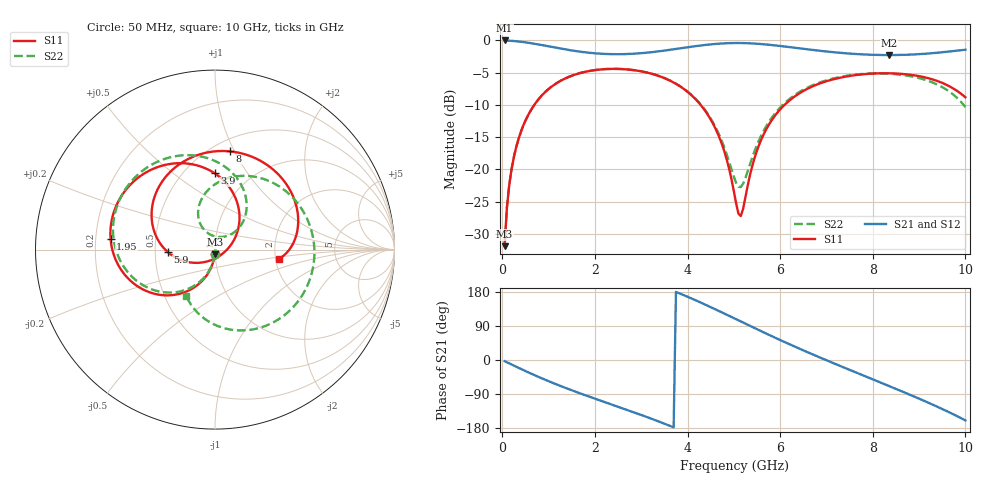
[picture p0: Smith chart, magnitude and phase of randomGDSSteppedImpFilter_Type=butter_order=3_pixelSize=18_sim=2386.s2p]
! freq	dB(S11)	phase(S11)	dB(S12)	phase(S12)
!  dB(S21)	phase(S21)	dB(S22)	phase(S22)
!S-par simulation data
#  GHz  S  DB  R 50
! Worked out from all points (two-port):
!   200 points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, 50 MHz to 10 GHz, reference 50 ohm
!   highest |S21| = -0.01 dB at 50 MHz (marker M1); lowest = -2.3 dB at 8.35 GHz (marker M2)
!   |S21| within 3 dB of the highest: start of sweep to end of sweep
!   lowest |S11| = -31.9 dB at 50 MHz (marker M3), VSWR 1.05, Z = 49.8 - j2.53 ohm
!   |S11| at or under -10 dB: start of sweep to 690.6 MHz; 4.283 GHz to 6.094 GHz (1.811 GHz wide, 34.9 % of centre)
!   |S22| runs from -31.9 to -4.4 dB; largest |S21 - S12| = 0
!   S11 on the Smith chart (normalised r, x): 50 MHz: 1.00, -0.05; 1.95 GHz: 0.26, +0.05; 3.9 GHz: 0.69, +0.72; 5.9 GHz: 0.58, -0.02; 8 GHz: 0.61, +0.96; 10 GHz: 2.10, -0.24
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0.05  -31.90 -93.0  -0.01 -3.0  -0.01 -3.0  -31.90 -93.2
0.1  -25.91 -96.0  -0.02 -6.0  -0.02 -6.0  -25.91 -96.4
0.2  -19.97 -101.9  -0.06 -11.9  -0.06 -11.9  -19.97 -102.8
0.5  -12.43 -118.7  -0.30 -29.1  -0.30 -29.1  -12.43 -120.8
1.05  -7.24 -146.7  -0.99 -58.4  -0.99 -58.4  -7.24 -151.2
1.75  -4.93 -177.8  -1.81 -91.1  -1.81 -91.1  -4.93 174.6
1.95  -4.65 173.9  -1.96 -99.8  -1.96 -99.8  -4.65 165.4
2.75  -4.53 141.7  -2.09 -134.0  -2.09 -134.0  -4.53 129.6
3.4  -5.56 114.1  -1.67 -163.2  -1.67 -163.2  -5.55 99.5
3.9  -7.42 90.3  -1.17 172.1  -1.17 172.1  -7.39 75.1
4.6  -13.62 49.3  -0.55 133.8  -0.55 133.8  -13.39 44.3
4.85  -18.55 26.6  -0.43 119.3  -0.43 119.3  -17.75 43.0
5.05  -25.30 -15.1  -0.40 107.6  -0.40 107.6  -22.10 63.7
5.15  -27.22 -64.6  -0.41 101.7  -0.41 101.7  -22.74 86.4
5.5  -17.07 -148.4  -0.51 81.2  -0.51 81.2  -16.20 120.0
5.9  -11.56 -177.2  -0.78 58.3  -0.78 58.3  -11.22 107.7
6.7  -7.12 140.9  -1.47 14.9  -1.47 14.9  -6.95 66.1
7.3  -5.77 113.1  -1.93 -15.9  -1.93 -15.9  -5.66 33.7
8  -5.14 81.5  -2.23 -51.0  -2.23 -51.0  -5.12 -3.3
8.35  -5.09 65.6  -2.27 -68.6  -2.27 -68.6  -5.16 -21.6
9.2  -5.86 26.2  -2.03 -112.7  -2.03 -112.7  -6.27 -67.4
10  -8.81 -7.9  -1.44 -159.3  -1.44 -159.3  -10.33 -121.8
